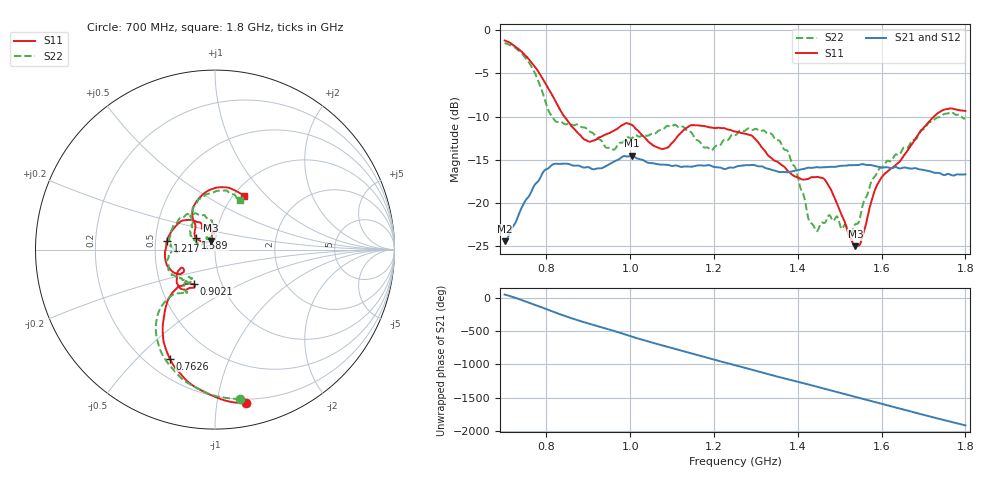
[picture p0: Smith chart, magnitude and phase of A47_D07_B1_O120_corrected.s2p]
! Created with skrf 1.9.0 (http://scikit-rf.org).
# Hz S RI R 50.0
!freq ReS11 ImS11 ReS21 ImS21 ReS12 ImS12 ReS22 ImS22
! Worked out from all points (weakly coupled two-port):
!   1601 points, 700 MHz to 1.8 GHz, reference 50 ohm
!   highest |S21| = -14.52 dB at 1.003 GHz (marker M1); lowest = -24.5 dB at 700 MHz (marker M2)
!   lowest |S11| = -25.0 dB at 1.537 GHz (marker M3), VSWR 1.12, Z = 47.3 + j4.8 ohm
!   |S11| at or under -10 dB: 842.7 MHz to 1.725 GHz (882 MHz wide, 68.7 % of centre)
!   |S22| runs from -24.0 to -1.5 dB; largest |S21 - S12| = 0.0035
!   S11 on the Smith chart (normalised r, x): 700 MHz: 0.17, -1.21; 762.6 MHz: 0.29, -0.63; 902.1 MHz: 0.74, -0.30; 1.217 GHz: 0.58, +0.06; 1.589 GHz: 0.80, +0.11; 1.8 GHz: 1.12, +0.76
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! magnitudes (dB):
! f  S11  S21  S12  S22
! 700 MHz  -1.2  -24.5  -24.2  -1.5
! 762.6 MHz  -3.6  -18.8  -18.8  -4.1
! 818.2 MHz  -7.9  -15.5  -15.6  -10.3
! 883.6 MHz  -12.3  -15.8  -15.7  -11.2
! 902.1 MHz  -12.9  -15.9  -15.9  -11.7
! 958.5 MHz  -11.7  -15.3  -15.3  -13.8
! 1.003 GHz  -10.9  -14.5  -14.6  -12.5
! 1.067 GHz  -13.6  -15.5  -15.5  -11.6
! 1.144 GHz  -11.0  -15.8  -15.8  -11.8
! 1.217 GHz  -11.3  -15.9  -15.9  -13.2
! 1.25 GHz  -11.7  -15.9  -15.8  -12.1
! 1.357 GHz  -15.4  -16.4  -16.3  -12.8
! 1.394 GHz  -17.0  -16.3  -16.2  -15.9
! 1.434 GHz  -17.0  -15.9  -15.9  -22.4
! 1.471 GHz  -17.8  -15.8  -15.8  -21.6
! 1.524 GHz  -23.9  -15.6  -15.6  -24.0
! 1.537 GHz  -25.0  -15.6  -15.6  -22.4
! 1.551 GHz  -24.4  -15.5  -15.6  -21.1
! 1.589 GHz  -17.9  -15.8  -15.8  -16.5
! 1.617 GHz  -16.2  -15.9  -15.9  -15.1
! 1.733 GHz  -9.6  -16.5  -16.5  -10.1
! 1.8 GHz  -9.3  -16.7  -16.7  -10.2
